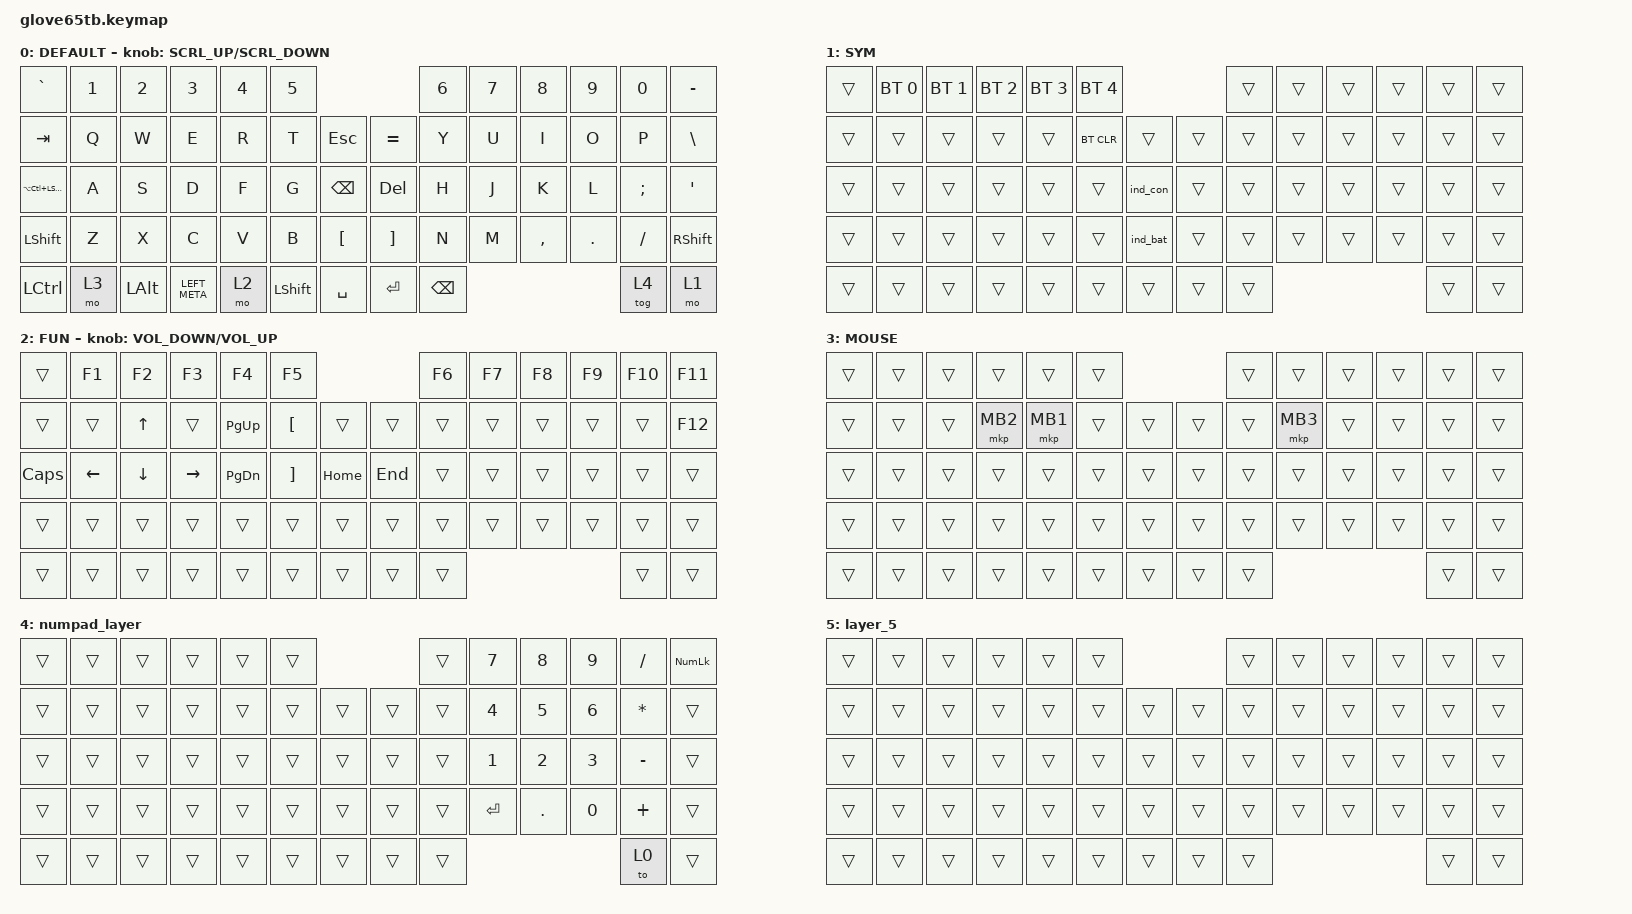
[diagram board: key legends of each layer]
#define ZMK_POINTING_DEFAULT_SCRL_VAL 150

#include <behaviors/rgbled_widget.dtsi>
#include <dt-bindings/zmk/input_transform.h>
#include <input/processors.dtsi>
#include <zephyr/dt-bindings/input/input-event-codes.h>
#include <behaviors.dtsi>
#include <dt-bindings/zmk/bt.h>
#include <dt-bindings/zmk/keys.h>
#include <dt-bindings/zmk/pointing.h>

// Layer Numbering

#define DEFAULT 0
#define NUM     1
#define SYM     2
#define FUN     3
#define MOUSE   4
#define SCROLL  5

&mmv {
    delay-ms = <20>;
    trigger-period-ms = <5>;
    time-to-max-speed-ms = <100>;
    acceleration-exponent = <2>;
};

&msc {
    delay-ms = <3>;
    trigger-period-ms = <3>;
    time-to-max-speed-ms = <100>;
    acceleration-exponent = <0>;
};

/ {
    input_processors {
        zip_wheel_scaler: zip_wheel_scaler {
            compatible = "zmk,input-processor-scaler";
            #input-processor-cells = <2>;
            type = <INPUT_EV_REL>;
            codes = <INPUT_REL_WHEEL>;
            track-remainders;
        };
    };
};

/ {
    combos {
        compatible = "zmk,combos";

        scroll {
            bindings = <&mo 0>;
            key-positions = <49 50>;
        };
    };

    behaviors {
        sensor_rotate_kp: sensor_rotate_kp {
            compatible = "zmk,behavior-sensor-rotate-var";
            #sensor-binding-cells = <2>;
            bindings = <&kp>, <&kp>;
        };

        mouse_wheel_scroll: mouse_wheel_scroll {
            compatible = "zmk,behavior-sensor-rotate-var";
            #sensor-binding-cells = <2>;
            bindings = <&msc>, <&msc>;

            tap-ms = <20>;
        };
    };

    keymap {
        compatible = "zmk,keymap";

        default_layer {
            label = "DEFAULT";
            bindings = <
&kp GRAVE               &kp N1  &kp N2        &kp N3         &kp N4  &kp N5                                               &kp N6         &kp N7  &kp N8     &kp N9   &kp N0    &kp MINUS
&kp TAB                 &kp Q   &kp W         &kp E          &kp R   &kp T           &kp ESC           &kp EQUAL          &kp Y          &kp U   &kp I      &kp O    &kp P     &kp BACKSLASH
&kp LA(LC(LEFT_SHIFT))  &kp A   &kp S         &kp D          &kp F   &kp G           &kp BACKSPACE     &kp DELETE         &kp H          &kp J   &kp K      &kp L    &kp SEMI  &kp SINGLE_QUOTE
&kp LEFT_SHIFT          &kp Z   &kp X         &kp C          &kp V   &kp B           &kp LEFT_BRACKET  &kp RIGHT_BRACKET  &kp N          &kp M   &kp COMMA  &kp DOT  &kp FSLH  &kp RIGHT_SHIFT
&kp LCTRL               &mo 3   &kp LEFT_ALT  &kp LEFT_META  &mo 2   &kp LEFT_SHIFT  &kp SPACE         &kp ENTER          &kp BACKSPACE                              &tog 4    &mo 1
            >;

            sensor-bindings = <&mouse_wheel_scroll SCRL_UP SCRL_DOWN>;
        };

        symbol_layer {
            label = "SYM";
            bindings = <
&trans  &bt BT_SEL 0  &bt BT_SEL 1  &bt BT_SEL 2  &bt BT_SEL 3  &bt BT_SEL 4                    &trans  &trans  &trans  &trans  &trans  &trans
&trans  &trans        &trans        &trans        &trans        &bt BT_CLR    &trans    &trans  &trans  &trans  &trans  &trans  &trans  &trans
&trans  &trans        &trans        &trans        &trans        &trans        &ind_con  &trans  &trans  &trans  &trans  &trans  &trans  &trans
&trans  &trans        &trans        &trans        &trans        &trans        &ind_bat  &trans  &trans  &trans  &trans  &trans  &trans  &trans
&trans  &trans        &trans        &trans        &trans        &trans        &trans    &trans  &trans                          &trans  &trans
            >;
        };

        function_layer {
            label = "FUN";
            bindings = <
&trans        &kp F1    &kp F2        &kp F3     &kp F4         &kp F5                                &kp F6  &kp F7  &kp F8  &kp F9  &kp F10  &kp F11
&trans        &trans    &kp UP_ARROW  &trans     &kp PAGE_UP    &kp LEFT_BRACKET   &trans    &trans   &trans  &trans  &trans  &trans  &trans   &kp F12
&kp CAPSLOCK  &kp LEFT  &kp DOWN      &kp RIGHT  &kp PAGE_DOWN  &kp RIGHT_BRACKET  &kp HOME  &kp END  &trans  &trans  &trans  &trans  &trans   &trans
&trans        &trans    &trans        &trans     &trans         &trans             &trans    &trans   &trans  &trans  &trans  &trans  &trans   &trans
&trans        &trans    &trans        &trans     &trans         &trans             &trans    &trans   &trans                          &trans   &trans
            >;

            sensor-bindings = <&sensor_rotate_kp C_VOLUME_DOWN C_VOLUME_UP>;
        };

        mouse_layer {
            label = "MOUSE";
            bindings = <
&trans  &trans  &trans  &trans    &trans    &trans                  &trans  &trans    &trans  &trans  &trans  &trans
&trans  &trans  &trans  &mkp MB2  &mkp MB1  &trans  &trans  &trans  &trans  &mkp MB3  &trans  &trans  &trans  &trans
&trans  &trans  &trans  &trans    &trans    &trans  &trans  &trans  &trans  &trans    &trans  &trans  &trans  &trans
&trans  &trans  &trans  &trans    &trans    &trans  &trans  &trans  &trans  &trans    &trans  &trans  &trans  &trans
&trans  &trans  &trans  &trans    &trans    &trans  &trans  &trans  &trans                            &trans  &trans
            >;
        };

        numpad_layer {
            bindings = <
&trans  &trans  &trans  &trans  &trans  &trans                  &trans  &kp N7     &kp N8      &kp N9  &kp SLASH     &kp KP_NUMLOCK
&trans  &trans  &trans  &trans  &trans  &trans  &trans  &trans  &trans  &kp N4     &kp N5      &kp N6  &kp ASTERISK  &trans
&trans  &trans  &trans  &trans  &trans  &trans  &trans  &trans  &trans  &kp N1     &kp N2      &kp N3  &kp MINUS     &trans
&trans  &trans  &trans  &trans  &trans  &trans  &trans  &trans  &trans  &kp ENTER  &kp PERIOD  &kp N0  &kp PLUS      &trans
&trans  &trans  &trans  &trans  &trans  &trans  &trans  &trans  &trans                                 &to 0         &trans
            >;
        };

        layer_5 {
            bindings = <
&trans  &trans  &trans  &trans  &trans  &trans                  &trans  &trans  &trans  &trans  &trans  &trans
&trans  &trans  &trans  &trans  &trans  &trans  &trans  &trans  &trans  &trans  &trans  &trans  &trans  &trans
&trans  &trans  &trans  &trans  &trans  &trans  &trans  &trans  &trans  &trans  &trans  &trans  &trans  &trans
&trans  &trans  &trans  &trans  &trans  &trans  &trans  &trans  &trans  &trans  &trans  &trans  &trans  &trans
&trans  &trans  &trans  &trans  &trans  &trans  &trans  &trans  &trans                          &trans  &trans
            >;
        };
    };
};
